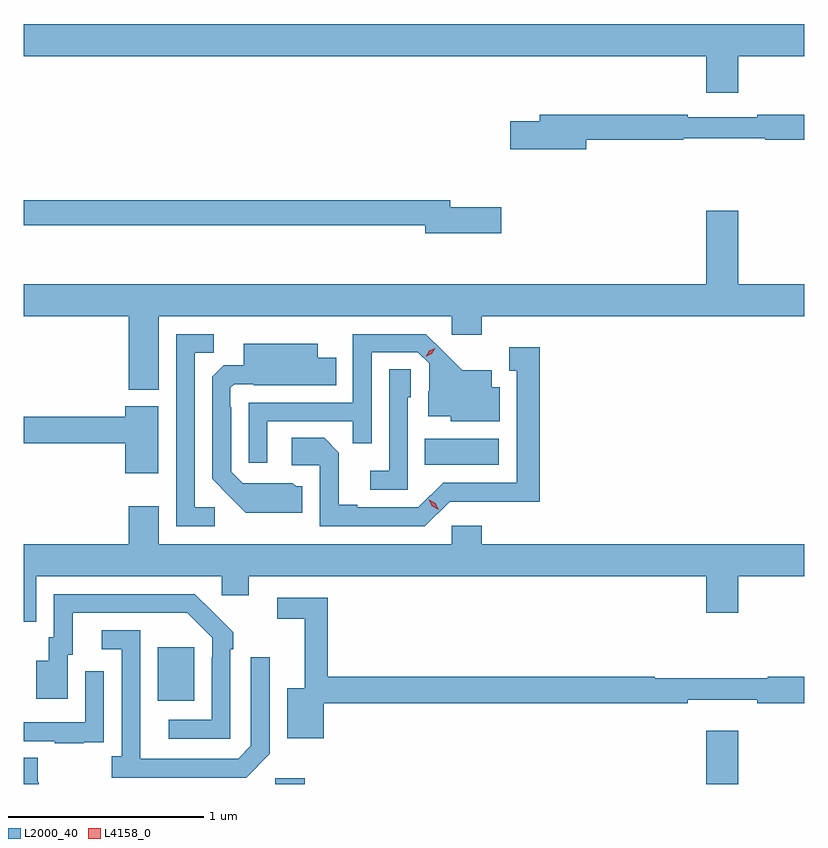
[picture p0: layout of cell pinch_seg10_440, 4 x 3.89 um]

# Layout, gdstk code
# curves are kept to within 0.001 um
import gdstk
lib = gdstk.Library(unit=1e-6, precision=1e-09)
def R(c, l, rs):  # rectangles x0, y0, x1, y1
    for r in rs: c.add(gdstk.rectangle(r[:2], r[2:], *l))
def P(c, l, *ps):  # polygons
    for p in ps: c.add(gdstk.Polygon(p, *l))
L2000_40 = (2000, 40)
L4158_0 = (4158, 0)

pinch_seg10_440 = lib.new_cell('pinch_seg10_440')
R(pinch_seg10_440, L2000_40, [(330.63,1311.239,330.782,1311.268), (332.84,1311.239,333.004,1311.511), (330.029,1311.665,330.217,1311.94), (331.396,1312.874,331.777,1313.008)])
P(pinch_seg10_440, L2000_40, [(333.004,1314.968),(333.342,1314.968),(333.342,1315.132),(329.342,1315.132),(329.342,1314.968),(332.84,1314.968),(332.84,1314.78),(333.004,1314.78)],
  [(332.224,1314.538),(332.72,1314.538),(332.72,1314.546),(333.142,1314.546),(333.142,1314.538),(333.342,1314.538),(333.342,1314.667),(333.1,1314.667),(333.1,1314.654),(332.744,1314.654),(332.744,1314.667),(331.985,1314.667),(331.985,1314.633),(331.836,1314.633),(331.836,1314.491),(332.224,1314.491)],
  [(331.789,1314.194),(331.528,1314.194),(331.528,1314.23),(329.342,1314.23),(329.342,1314.102),(331.4,1314.102),(331.4,1314.059),(331.789,1314.059)],
  [(330.034,1313.636),(331.536,1313.636),(331.536,1313.541),(331.688,1313.541),(331.688,1313.636),(333.342,1313.636),(333.342,1313.8),(333.004,1313.8),(333.004,1314.175),(332.84,1314.175),(332.84,1313.8),(329.342,1313.8),(329.342,1313.636),(329.882,1313.636),(329.882,1313.258),(330.034,1313.258)],
  [(330.322,1312.656),(330.219,1312.656),(330.219,1313.449),(330.315,1313.449),(330.315,1313.544),(330.123,1313.544),(330.123,1312.56),(330.322,1312.56)],
  [(330.591,1313.097),(331.027,1313.097),(331.027,1312.984),(331.125,1312.984),(331.125,1313.451),(331.362,1313.451),(331.419,1313.394),(331.419,1313.252),(331.415,1313.252),(331.415,1313.123),(331.53,1313.123),(331.53,1313.096),(331.78,1313.096),(331.78,1313.272),(331.741,1313.272),(331.741,1313.359),(331.589,1313.359),(331.402,1313.544),(331.029,1313.544),(331.029,1313.193),(330.495,1313.193),(330.495,1312.884),(330.591,1312.884)],
  [(330.769,1312.764),(330.738,1312.764),(330.722,1312.78),(330.465,1312.779),(330.405,1312.839),(330.405,1313.168),(330.402,1313.168),(330.402,1313.268),(330.42,1313.286),(330.52,1313.286),(330.52,1313.282),(330.944,1313.282),(330.944,1313.422),(330.85,1313.422),(330.85,1313.494),(330.47,1313.494),(330.47,1313.383),(330.368,1313.383),(330.309,1313.324),(330.309,1312.802),(330.481,1312.628),(330.769,1312.628)],
  [(331.524,1312.686),(331.987,1312.685),(331.987,1313.476),(331.829,1313.476),(331.829,1313.355),(331.868,1313.355),(331.868,1312.782),(331.491,1312.782),(331.365,1312.656),(331.051,1312.656),(331.051,1312.669),(330.957,1312.669),(330.957,1312.936),(330.881,1313.012),(330.717,1313.012),(330.717,1312.872),(330.858,1312.872),(330.858,1312.56),(331.398,1312.56)],
  [(331.311,1313.22),(331.326,1313.22),(331.326,1313.363),(331.215,1313.363),(331.215,1312.843),(331.119,1312.843),(331.119,1312.746),(331.311,1312.746)],
  [(330.031,1313.173),(329.864,1313.173),(329.864,1313.12),(329.342,1313.12),(329.342,1312.984),(329.864,1312.984),(329.864,1312.83),(330.031,1312.83)],
  [(329.407,1312.304),(330.357,1312.304),(330.357,1312.206),(330.496,1312.206),(330.496,1312.304),(332.84,1312.304),(332.84,1312.116),(333.004,1312.116),(333.004,1312.304),(333.342,1312.304),(333.342,1312.468),(331.688,1312.468),(331.688,1312.561),(331.536,1312.561),(331.536,1312.468),(330.034,1312.468),(330.034,1312.663),(329.882,1312.663),(329.882,1312.468),(329.342,1312.468),(329.342,1312.069),(329.407,1312.069)],
  [(330.402,1311.929),(330.417,1311.929),(330.417,1312.017),(330.22,1312.212),(329.496,1312.212),(329.496,1311.99),(329.471,1311.99),(329.471,1311.871),(329.408,1311.871),(329.408,1311.675),(329.569,1311.675),(329.569,1311.9),(329.593,1311.9),(329.593,1312.116),(330.181,1312.116),(330.309,1311.987),(330.309,1311.887),(330.306,1311.887),(330.306,1311.567),(330.087,1311.567),(330.087,1311.471),(330.402,1311.471)],
  [(330.879,1311.652),(332.744,1311.652),(332.744,1311.671),(333.1,1311.671),(333.1,1311.652),(333.342,1311.652),(333.342,1311.788),(333.154,1311.788),(333.154,1311.781),(332.576,1311.781),(332.576,1311.788),(330.899,1311.788),(330.899,1312.194),(330.642,1312.194),(330.642,1312.086),(330.782,1312.086),(330.782,1311.73),(330.692,1311.73),(330.692,1311.473),(330.879,1311.473)],
  [(330.603,1311.393),(330.603,1311.889),(330.507,1311.889),(330.507,1311.435),(330.441,1311.369),(329.941,1311.369),(329.94,1312.026),(329.742,1312.026),(329.742,1311.93),(329.844,1311.93),(329.844,1311.382),(329.793,1311.382),(329.793,1311.272),(330.482,1311.272)],
  [(329.651,1311.453),(329.753,1311.453),(329.753,1311.562),(329.754,1311.562),(329.754,1311.817),(329.658,1311.817),(329.658,1311.555),(329.342,1311.555),(329.342,1311.459),(329.503,1311.459),(329.503,1311.447),(329.651,1311.447)],
  [(329.42,1311.249),(329.415,1311.249),(329.415,1311.374),(329.342,1311.374),(329.342,1311.239),(329.42,1311.239)])
P(pinch_seg10_440, L4158_0, [(331.468,1312.644),(331.436,1312.663),(331.418,1312.696),(331.418,1312.696),(331.419,1312.696),(331.45,1312.677),(331.468,1312.645),(331.468,1312.644)],
  [(331.402,1313.427),(331.402,1313.428),(331.42,1313.457),(331.45,1313.472),(331.451,1313.472),(331.451,1313.472),(331.433,1313.442),(331.402,1313.427)])

lib.write_gds('pinch_seg10_440.gds')
